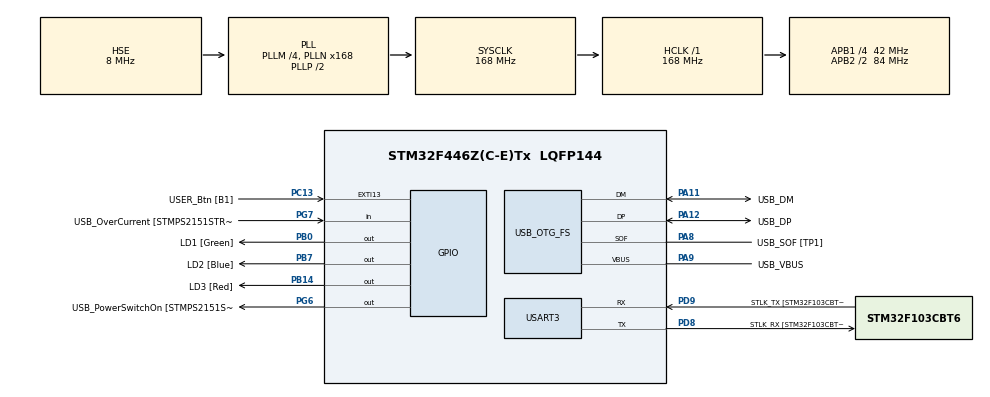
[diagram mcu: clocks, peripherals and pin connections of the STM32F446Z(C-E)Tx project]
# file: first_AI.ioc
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Mcu.Family=STM32F4
Mcu.Name=STM32F446Z(C-E)Tx
Mcu.Package=LQFP144
NVIC.PriorityGroup=NVIC_PRIORITYGROUP_4
PA10.GPIO_Label=USB_ID
PA10.Signal=USB_OTG_FS_ID
PA11.GPIO_Label=USB_DM
PA11.Mode=Device_Only
PA11.Signal=USB_OTG_FS_DM
PA12.GPIO_Label=USB_DP
PA12.Mode=Device_Only
PA12.Signal=USB_OTG_FS_DP
PA13.GPIO_Label=TMS
PA13.Mode=Serial_Wire
PA13.Signal=SYS_JTMS-SWDIO
PA14.GPIO_Label=TCK
PA14.Mode=Serial_Wire
PA14.Signal=SYS_JTCK-SWCLK
PA8.GPIO_Label=USB_SOF [TP1]
PA8.Mode=Activate_SOF_FS
PA8.Signal=USB_OTG_FS_SOF
PA9.GPIO_Label=USB_VBUS
PA9.Mode=Activate_VBUS
PA9.Signal=USB_OTG_FS_VBUS
PB0.GPIO_Label=LD1 [Green]
PB0.Signal=GPIO_Output
PB14.GPIO_Label=LD3 [Red]
PB14.Signal=GPIO_Output
PB7.GPIO_Label=LD2 [Blue]
PB7.Signal=GPIO_Output
PC13.GPIO_Label=USER_Btn [B1]
PC13.Signal=GPXTI13
PC14-OSC32_IN.Mode=LSE-External-Oscillator
PC14-OSC32_IN.Signal=RCC_OSC32_IN
PC15-OSC32_OUT.Mode=LSE-External-Oscillator
PC15-OSC32_OUT.Signal=RCC_OSC32_OUT
PD8.GPIO_Label=STLK_RX [STM32F103CBT6_PA3]
PD8.Mode=Asynchronous
PD8.Signal=USART3_TX
PD9.GPIO_Label=STLK_TX [STM32F103CBT6_PA2]
PD9.Mode=Asynchronous
PD9.Signal=USART3_RX
PG6.GPIO_Label=USB_PowerSwitchOn [STMPS2151STR_EN]
PG6.Signal=GPIO_Output
PG7.GPIO_Label=USB_OverCurrent [STMPS2151STR_FAULT]
PG7.Signal=GPIO_Input
PH0-OSC_IN.GPIO_Label=MCO [STM32F103CBT6_PA8]
PH0-OSC_IN.Mode=HSE-External-Clock-Source
PH0-OSC_IN.Signal=RCC_OSC_IN
PH1-OSC_OUT.Mode=HSE-External-Clock-Source
PH1-OSC_OUT.Signal=RCC_OSC_OUT
ProjectManager.HeapSize=0x800
ProjectManager.StackSize=0x800
ProjectManager.TargetToolchain=STM32CubeIDE
RCC.48MHZClocksFreq_Value=24000000
RCC.AHBFreq_Value=168000000
RCC.APB1CLKDivider=RCC_HCLK_DIV4
RCC.APB1Freq_Value=42000000
RCC.APB1TimFreq_Value=84000000
RCC.APB2CLKDivider=RCC_HCLK_DIV2
RCC.APB2Freq_Value=84000000
RCC.APB2TimFreq_Value=168000000
RCC.CortexFreq_Value=168000000
RCC.HCLKFreq_Value=168000000
RCC.HSE_VALUE=8000000
RCC.HSI_VALUE=16000000
RCC.PLLM=4
RCC.PLLMUL=RCC_PLL_MUL9
RCC.PLLN=168
RCC.PLLQ=7
RCC.PRESCALERUSB=RCC_USBCLKSOURCE_PLL_DIV1_5
RCC.SYSCLKFreq_VALUE=168000000
RCC.SYSCLKSource=RCC_SYSCLKSOURCE_PLLCLK
RCC.SYSCLKSourceVirtual=RCC_SYSCLKSOURCE_PLLCLK
RCC.USBFreq_Value=48000000
RCC.VCOOutputFreq_Value=336000000
STMicroelectronics.X-CUBE-AI.10.2.0.ActivationBufferSizeList=2076
STMicroelectronics.X-CUBE-AI.10.2.0.ActivationBuffers=pool0
STMicroelectronics.X-CUBE-AI.10.2.0.ActivationNames=pool0
STMicroelectronics.X-CUBE-AI.10.2.0.ActivationSizes=AI_NETWORK_DATA_ACTIVATION_1_SIZE
STMicroelectronics.X-CUBE-AI.10.2.0.HeapSize=0x800
STMicroelectronics.X-CUBE-AI.10.2.0.InternalRamActivationBufferMaxSize=AI_NETWORK_DATA_ACTIVATIONS_SIZE
STMicroelectronics.X-CUBE-AI.10.2.0.LatestDirectoryUsed-9b18d65bfd124da5c7199a4245d30577062da565ed30fcad28b3f354d555a618=D\:\\Programming\\Python\\DECL\\mini_project
STMicroelectronics.X-CUBE-AI.10.2.0.MaximumNumberOfInputLayer=1
STMicroelectronics.X-CUBE-AI.10.2.0.MaximumNumberOfOutputLayer=1
STMicroelectronics.X-CUBE-AI.10.2.0.MaximumSizeOfInputLayer=1
STMicroelectronics.X-CUBE-AI.10.2.0.MaximumSizeOfOutputLayer=1,1
STMicroelectronics.X-CUBE-AI.10.2.0.ModelActualCompression-9b18d65bfd124da5c7199a4245d30577062da565ed30fcad28b3f354d555a618=0.0
STMicroelectronics.X-CUBE-AI.10.2.0.ModelCompression-9b18d65bfd124da5c7199a4245d30577062da565ed30fcad28b3f354d555a618=None
STMicroelectronics.X-CUBE-AI.10.2.0.ModelFlashOccupation-9b18d65bfd124da5c7199a4245d30577062da565ed30fcad28b3f354d555a618=263404
STMicroelectronics.X-CUBE-AI.10.2.0.ModelHashList=9b18d65bfd124da5c7199a4245d30577062da565ed30fcad28b3f354d555a618
STMicroelectronics.X-CUBE-AI.10.2.0.ModelKind-9b18d65bfd124da5c7199a4245d30577062da565ed30fcad28b3f354d555a618=ONNX
STMicroelectronics.X-CUBE-AI.10.2.0.ModelMacc-9b18d65bfd124da5c7199a4245d30577062da565ed30fcad28b3f354d555a618=2201
STMicroelectronics.X-CUBE-AI.10.2.0.ModelName-9b18d65bfd124da5c7199a4245d30577062da565ed30fcad28b3f354d555a618=network
STMicroelectronics.X-CUBE-AI.10.2.0.ModelNameList=network
STMicroelectronics.X-CUBE-AI.10.2.0.ModelRamOccupation-9b18d65bfd124da5c7199a4245d30577062da565ed30fcad28b3f354d555a618=2076
STMicroelectronics.X-CUBE-AI.10.2.0.ModelStructureFile-9b18d65bfd124da5c7199a4245d30577062da565ed30fcad28b3f354d555a618=D\:\\Programming\\Python\\DECL\\mini_project\\rf.onnx
STMicroelectronics.X-CUBE-AI.10.2.0.ModelType-9b18d65bfd124da5c7199a4245d30577062da565ed30fcad28b3f354d555a618=STM32Cube.AI MCU runtime
STMicroelectronics.X-CUBE-AI.10.2.0.ReadyForCodeGeneration=true
STMicroelectronics.X-CUBE-AI.10.2.0.StackSize=0x800
STMicroelectronics.X-CUBE-AI.10.2.0.WorkingBufferStartAddrList=0xFFFFFFFF
STMicroelectronics.X-CUBE-AI.10.2.0.XAaCUBEAaAICcArtificialOoIntelligenceJjCore=true
STMicroelectronics.X-CUBE-AI.10.2.0.copyWeightToRam=false
STMicroelectronics.X-CUBE-AI.10.2.0.customLayerConfigEnabled=false
STMicroelectronics.X-CUBE-AI.10.2.0.noOnnxIoTranspose=false
STMicroelectronics.X-CUBE-AI.10.2.0.useInputAllocation=true
STMicroelectronics.X-CUBE-AI.10.2.0.useOutputAllocation=true
USART3.VirtualMode=VM_ASYNC
USB_OTG_FS.VirtualMode=Device_Only
VP_STMicroelectronics.X-CUBE-AI_VS_ArtificialOoIntelligenceJjXAaCUBEAaAI_10.2.0.Mode=ArtificialOoIntelligenceJjXAaCUBEAaAI
board=NUCLEO-F446ZE

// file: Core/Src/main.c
/* USER CODE BEGIN Header */
/**
  ******************************************************************************
  * @file           : main.c
  * @brief          : Main program body
  ******************************************************************************
  * @attention
  *
  * Copyright (c) 2025 STMicroelectronics.
  * All rights reserved.
  *
  * This software is licensed under terms that can be found in the LICENSE file
  * in the root directory of this software component.
  * If no LICENSE file comes with this software, it is provided AS-IS.
  *
  ******************************************************************************
  */
/* USER CODE END Header */
#include "main.h"
#include <stdio.h>   // For printf
#include "ai_platform.h"
#include "network.h"
#include "network_data.h"

UART_HandleTypeDef huart3;

PCD_HandleTypeDef hpcd_USB_OTG_FS;

/* USER CODE BEGIN PV */
ai_i32 batch;
ai_float in_data[AI_NETWORK_IN_1_SIZE];
ai_float out_data[AI_NETWORK_OUT_1_SIZE];

// Fill input with your data

/* USER CODE END PV */

void SystemClock_Config(void);
static void MX_GPIO_Init(void);
static void MX_USART3_UART_Init(void);
static void MX_USB_OTG_FS_PCD_Init(void);
/* USER CODE BEGIN PFP */
int _write(int file, char *data, int len) {
    HAL_UART_Transmit(&huart3, (uint8_t*)data, len, HAL_MAX_DELAY);
    return len;
}

int _read(int file, char *ptr, int len) {
    for (int i = 0; i < len; i++) {
        HAL_UART_Receive(&huart3, (uint8_t*)&ptr[i], 1, HAL_MAX_DELAY);
        if (ptr[i] == '\r') { // Stop on Enter
            ptr[i] = '\0';
            return i;
        }
    }
    return len;
}

/* Minimal syscalls for newlib-nano */
int _close(int file)        { return -1; }
int _fstat(int file, void *st) { return 0; }
int _isatty(int file)       { return 1; }
int _lseek(int file, int ptr, int dir) { return 0; }
int _getpid(void)           { return 1; }
int _kill(int pid, int sig) { return -1; }

/* USER CODE END PFP */

int main(void)
{

  /* MCU Configuration--------------------------------------------------------*/

  /* Reset of all peripherals, Initializes the Flash interface and the Systick. */
  HAL_Init();

  /* Configure the system clock */
  SystemClock_Config();

  /* Initialize all configured peripherals */
  MX_GPIO_Init();
  MX_USART3_UART_Init();
  MX_USB_OTG_FS_PCD_Init();
  /* USER CODE BEGIN 2 */

  const ai_handle weights = ai_network_data_weights_get();
  ai_handle activations = AI_HANDLE_NULL; // will be allocated later if needed
  ai_handle network = AI_HANDLE_NULL;

  ai_network_params params = AI_NETWORK_PARAMS_INIT(
      AI_NETWORK_DATA_WEIGHTS(weights),
      AI_NETWORK_DATA_ACTIVATIONS(activations)
  );

  ai_error err;

  err = ai_network_create(&network, AI_NETWORK_DATA_CONFIG);
  if (err.type != AI_ERROR_NONE) {
      printf("Error creating network: %d\r\n", err.code);
      while(1);
  }

  if (ai_network_init(network, &params) == 0) {
      printf("Network initialization failed\r\n");
      while(1);
  }

  /* Create the network */

  /* Initialize the network */

  /* USER CODE END 2 */

  /* Infinite loop */
  while (1)
  {

    /* USER CODE BEGIN 3 */
	  ai_network_run(network, in_data, out_data);
	  printf("Prediction = %f\r\n", out_data[0]);
  }
  /* USER CODE END 3 */
}

void SystemClock_Config(void)
{
  RCC_OscInitTypeDef RCC_OscInitStruct = {0};
  RCC_ClkInitTypeDef RCC_ClkInitStruct = {0};

  /** Configure the main internal regulator output voltage
  */
  __HAL_RCC_PWR_CLK_ENABLE();
  __HAL_PWR_VOLTAGESCALING_CONFIG(PWR_REGULATOR_VOLTAGE_SCALE1);

  /** Initializes the RCC Oscillators according to the specified parameters
  * in the RCC_OscInitTypeDef structure.
  */
  RCC_OscInitStruct.OscillatorType = RCC_OSCILLATORTYPE_HSE;
  RCC_OscInitStruct.HSEState = RCC_HSE_BYPASS;
  RCC_OscInitStruct.PLL.PLLState = RCC_PLL_ON;
  RCC_OscInitStruct.PLL.PLLSource = RCC_PLLSOURCE_HSE;
  RCC_OscInitStruct.PLL.PLLM = 4;
  RCC_OscInitStruct.PLL.PLLN = 168;
  RCC_OscInitStruct.PLL.PLLP = RCC_PLLP_DIV2;
  RCC_OscInitStruct.PLL.PLLQ = 7;
  RCC_OscInitStruct.PLL.PLLR = 2;
  if (HAL_RCC_OscConfig(&RCC_OscInitStruct) != HAL_OK)
  {
    Error_Handler();
  }

  /** Initializes the CPU, AHB and APB buses clocks
  */
  RCC_ClkInitStruct.ClockType = RCC_CLOCKTYPE_HCLK|RCC_CLOCKTYPE_SYSCLK
                              |RCC_CLOCKTYPE_PCLK1|RCC_CLOCKTYPE_PCLK2;
  RCC_ClkInitStruct.SYSCLKSource = RCC_SYSCLKSOURCE_PLLCLK;
  RCC_ClkInitStruct.AHBCLKDivider = RCC_SYSCLK_DIV1;
  RCC_ClkInitStruct.APB1CLKDivider = RCC_HCLK_DIV4;
  RCC_ClkInitStruct.APB2CLKDivider = RCC_HCLK_DIV2;

  if (HAL_RCC_ClockConfig(&RCC_ClkInitStruct, FLASH_LATENCY_5) != HAL_OK)
  {
    Error_Handler();
  }
}

static void MX_USART3_UART_Init(void)
{

  huart3.Instance = USART3;
  huart3.Init.BaudRate = 115200;
  huart3.Init.WordLength = UART_WORDLENGTH_8B;
  huart3.Init.StopBits = UART_STOPBITS_1;
  huart3.Init.Parity = UART_PARITY_NONE;
  huart3.Init.Mode = UART_MODE_TX_RX;
  huart3.Init.HwFlowCtl = UART_HWCONTROL_NONE;
  huart3.Init.OverSampling = UART_OVERSAMPLING_16;
  if (HAL_UART_Init(&huart3) != HAL_OK)
  {
    Error_Handler();
  }

}

static void MX_USB_OTG_FS_PCD_Init(void)
{

  hpcd_USB_OTG_FS.Instance = USB_OTG_FS;
  hpcd_USB_OTG_FS.Init.dev_endpoints = 6;
  hpcd_USB_OTG_FS.Init.speed = PCD_SPEED_FULL;
  hpcd_USB_OTG_FS.Init.dma_enable = DISABLE;
  hpcd_USB_OTG_FS.Init.phy_itface = PCD_PHY_EMBEDDED;
  hpcd_USB_OTG_FS.Init.Sof_enable = ENABLE;
  hpcd_USB_OTG_FS.Init.low_power_enable = DISABLE;
  hpcd_USB_OTG_FS.Init.lpm_enable = DISABLE;
  hpcd_USB_OTG_FS.Init.vbus_sensing_enable = ENABLE;
  hpcd_USB_OTG_FS.Init.use_dedicated_ep1 = DISABLE;
  if (HAL_PCD_Init(&hpcd_USB_OTG_FS) != HAL_OK)
  {
    Error_Handler();
  }

}

static void MX_GPIO_Init(void)
{
  GPIO_InitTypeDef GPIO_InitStruct = {0};

  /* GPIO Ports Clock Enable */
  __HAL_RCC_GPIOC_CLK_ENABLE();
  __HAL_RCC_GPIOH_CLK_ENABLE();
  __HAL_RCC_GPIOB_CLK_ENABLE();
  __HAL_RCC_GPIOD_CLK_ENABLE();
  __HAL_RCC_GPIOG_CLK_ENABLE();
  __HAL_RCC_GPIOA_CLK_ENABLE();

  /*Configure GPIO pin Output Level */
  HAL_GPIO_WritePin(GPIOB, LD1_Pin|LD3_Pin|LD2_Pin, GPIO_PIN_RESET);

  /*Configure GPIO pin Output Level */
  HAL_GPIO_WritePin(USB_PowerSwitchOn_GPIO_Port, USB_PowerSwitchOn_Pin, GPIO_PIN_RESET);

  /*Configure GPIO pin : USER_Btn_Pin */
  GPIO_InitStruct.Pin = USER_Btn_Pin;
  GPIO_InitStruct.Mode = GPIO_MODE_IT_RISING;
  GPIO_InitStruct.Pull = GPIO_NOPULL;
  HAL_GPIO_Init(USER_Btn_GPIO_Port, &GPIO_InitStruct);

  /*Configure GPIO pins : LD1_Pin LD3_Pin LD2_Pin */
  GPIO_InitStruct.Pin = LD1_Pin|LD3_Pin|LD2_Pin;
  GPIO_InitStruct.Mode = GPIO_MODE_OUTPUT_PP;
  GPIO_InitStruct.Pull = GPIO_NOPULL;
  GPIO_InitStruct.Speed = GPIO_SPEED_FREQ_LOW;
  HAL_GPIO_Init(GPIOB, &GPIO_InitStruct);

  /*Configure GPIO pin : USB_PowerSwitchOn_Pin */
  GPIO_InitStruct.Pin = USB_PowerSwitchOn_Pin;
  GPIO_InitStruct.Mode = GPIO_MODE_OUTPUT_PP;
  GPIO_InitStruct.Pull = GPIO_NOPULL;
  GPIO_InitStruct.Speed = GPIO_SPEED_FREQ_LOW;
  HAL_GPIO_Init(USB_PowerSwitchOn_GPIO_Port, &GPIO_InitStruct);

  /*Configure GPIO pin : USB_OverCurrent_Pin */
  GPIO_InitStruct.Pin = USB_OverCurrent_Pin;
  GPIO_InitStruct.Mode = GPIO_MODE_INPUT;
  GPIO_InitStruct.Pull = GPIO_NOPULL;
  HAL_GPIO_Init(USB_OverCurrent_GPIO_Port, &GPIO_InitStruct);

}

void Error_Handler(void)
{
  __disable_irq();
  while (1)
  {
  }
}
